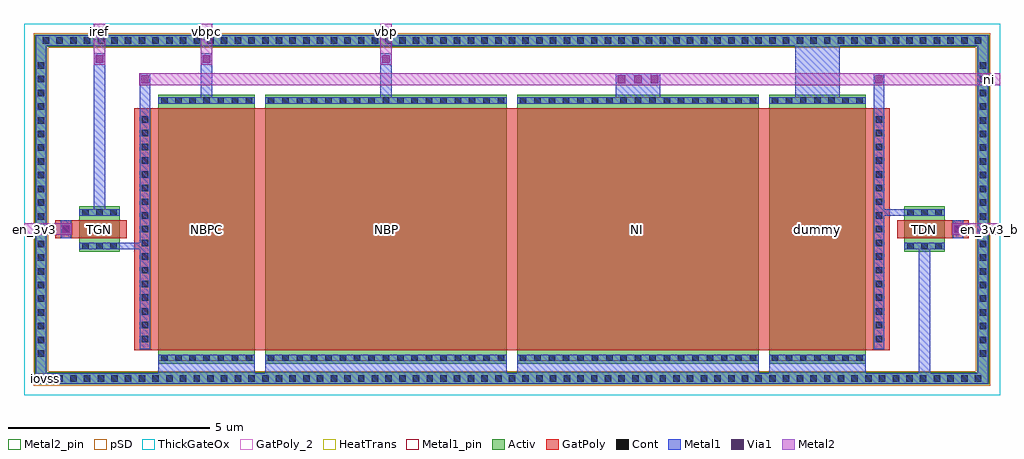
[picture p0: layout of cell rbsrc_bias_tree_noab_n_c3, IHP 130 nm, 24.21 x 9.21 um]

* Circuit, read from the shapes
.subckt rbsrc_bias_tree_noab_n_c3 en_3v3 en_3v3_b iovss iref ni vbp vbpc
XM1 iref en_3v3 ni iovss sg13_hv_nmos w=1u l=0.45u
XM2 vbpc ni iovss iovss sg13_hv_nmos w=2.4u l=6u
XM3 vbp ni iovss iovss sg13_hv_nmos w=6u l=6u
XM4 ni ni iovss iovss sg13_hv_nmos w=6u l=6u
XM5 iovss ni iovss iovss sg13_hv_nmos w=2.4u l=6u
XM6 ni en_3v3_b iovss iovss sg13_hv_nmos w=1u l=0.45u
.ends

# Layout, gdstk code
from math import pi, radians
import gdstk
lib = gdstk.Library(unit=1e-6, precision=1e-09)
def R(c, l, rs):  # rectangles x0, y0, x1, y1
    for r in rs: c.add(gdstk.rectangle(r[:2], r[2:], *l))
def A(c, l, x, y, w, h, nx, ny, dx, dy):  # array of equal rectangles
    R(c, l, [(x+i*dx, y+j*dy, x+i*dx+w, y+j*dy+h) for i in range(nx) for j in range(ny)])
Activ = (1, 0)
GatPoly = (5, 0)
GatPoly_2 = (5, 2)
Cont = (6, 0)
Metal1 = (8, 0)
Metal1_pin = (8, 2)
Metal2 = (10, 0)
Metal2_pin = (10, 2)
pSD = (14, 0)
Via1 = (19, 0)
ThickGateOx = (44, 0)
HeatTrans = (51, 0)

rbsrc_nhv_w6_l6 = lib.new_cell('rbsrc_nhv_w6_l6')
R(rbsrc_nhv_w6_l6, Activ, [(0,0,0.3,0.3), (0,0,6.68,6), (6.38,0,6.68,0.3)])
R(rbsrc_nhv_w6_l6, GatPoly, [(0.34,-0.18,6.34,6.18)])
R(rbsrc_nhv_w6_l6, GatPoly_2, [(0.34,-0.18,6.34,6.18)])
A(rbsrc_nhv_w6_l6, Cont, 0.07, 0.07, 0.16, 0.16, 1, 4, 0, 0.355)
A(rbsrc_nhv_w6_l6, Cont, 6.45, 0.07, 0.16, 0.16, 1, 4, 0, 0.355)
A(rbsrc_nhv_w6_l6, Cont, 0.07, 1.495, 0.16, 0.16, 1, 4, 0, 0.355)
A(rbsrc_nhv_w6_l6, Cont, 6.45, 1.495, 0.16, 0.16, 1, 4, 0, 0.355)
A(rbsrc_nhv_w6_l6, Cont, 0.07, 2.92, 0.16, 0.16, 1, 4, 0, 0.355)
A(rbsrc_nhv_w6_l6, Cont, 6.45, 2.92, 0.16, 0.16, 1, 4, 0, 0.355)
A(rbsrc_nhv_w6_l6, Cont, 0.07, 4.345, 0.16, 0.16, 1, 4, 0, 0.355)
A(rbsrc_nhv_w6_l6, Cont, 6.45, 4.345, 0.16, 0.16, 1, 4, 0, 0.355)
R(rbsrc_nhv_w6_l6, Cont, [(0.07,5.77,0.23,5.93), (6.45,5.77,6.61,5.93)])
R(rbsrc_nhv_w6_l6, Metal1, [(0.07,0,0.23,6), (6.45,0,6.61,6)])
R(rbsrc_nhv_w6_l6, Metal1_pin, [(0.07,0,0.23,6), (6.45,0,6.61,6)])
R(rbsrc_nhv_w6_l6, ThickGateOx, [(-0.27,-0.52,6.95,6.52)])
R(rbsrc_nhv_w6_l6, HeatTrans, [(0.34,-0.18,6.34,6.18)])
rbsrc_nhv_w6_l6.add(gdstk.Label('nmosHV', (3.34,3), layer=63, texttype=0))
rbsrc_nhv_w6_l6.add(gdstk.Label('nmosHV', (3.34,3), layer=51, texttype=0))

rbsrc_nhv_w2p4_l6 = lib.new_cell('rbsrc_nhv_w2p4_l6')
R(rbsrc_nhv_w2p4_l6, Activ, [(0,0,0.3,0.3), (0,0,6.68,2.4), (6.38,0,6.68,0.3)])
R(rbsrc_nhv_w2p4_l6, GatPoly, [(0.34,-0.18,6.34,2.58)])
R(rbsrc_nhv_w2p4_l6, GatPoly_2, [(0.34,-0.18,6.34,2.58)])
A(rbsrc_nhv_w2p4_l6, Cont, 0.07, 0.07, 0.16, 0.16, 1, 7, 0, 0.35)
A(rbsrc_nhv_w2p4_l6, Cont, 6.45, 0.07, 0.16, 0.16, 1, 7, 0, 0.35)
R(rbsrc_nhv_w2p4_l6, Metal1, [(0.07,0,0.23,2.4), (6.45,0,6.61,2.4)])
R(rbsrc_nhv_w2p4_l6, Metal1_pin, [(0.07,0,0.23,2.4), (6.45,0,6.61,2.4)])
R(rbsrc_nhv_w2p4_l6, ThickGateOx, [(-0.27,-0.52,6.95,2.92)])
R(rbsrc_nhv_w2p4_l6, HeatTrans, [(0.34,-0.18,6.34,2.58)])
rbsrc_nhv_w2p4_l6.add(gdstk.Label('nmosHV', (3.34,1.2), layer=63, texttype=0))
rbsrc_nhv_w2p4_l6.add(gdstk.Label('nmosHV', (3.34,1.2), layer=51, texttype=0))

rbsrc_nhv_w1_l0p45 = lib.new_cell('rbsrc_nhv_w1_l0p45')
R(rbsrc_nhv_w1_l0p45, Activ, [(0,0,0.3,0.3), (0,0,1.13,1), (0.83,0,1.13,0.3)])
R(rbsrc_nhv_w1_l0p45, GatPoly, [(0.34,-0.18,0.79,1.18)])
R(rbsrc_nhv_w1_l0p45, GatPoly_2, [(0.34,-0.18,0.79,1.18)])
A(rbsrc_nhv_w1_l0p45, Cont, 0.07, 0.07, 0.16, 0.16, 1, 3, 0, 0.35)
A(rbsrc_nhv_w1_l0p45, Cont, 0.9, 0.07, 0.16, 0.16, 1, 3, 0, 0.35)
R(rbsrc_nhv_w1_l0p45, Metal1, [(0.07,0,0.23,1), (0.9,0,1.06,1)])
R(rbsrc_nhv_w1_l0p45, Metal1_pin, [(0.07,0,0.23,1), (0.9,0,1.06,1)])
R(rbsrc_nhv_w1_l0p45, ThickGateOx, [(-0.27,-0.52,1.4,1.52)])
R(rbsrc_nhv_w1_l0p45, HeatTrans, [(0.34,-0.18,0.79,1.18)])
rbsrc_nhv_w1_l0p45.add(gdstk.Label('nmosHV', (0.565,0.5), layer=63, texttype=0))
rbsrc_nhv_w1_l0p45.add(gdstk.Label('nmosHV', (0.565,0.5), layer=51, texttype=0))

rbsrc_bias_tree_noab_n_c = lib.new_cell('rbsrc_bias_tree_noab_n_c3')
R(rbsrc_bias_tree_noab_n_c, Activ, [(-3.06,-0.51,20.61,-0.21), (-3.06,-0.51,-2.76,8.165), (20.31,-0.51,20.61,8.165), (-3.06,7.865,20.61,8.165)])
R(rbsrc_bias_tree_noab_n_c, GatPoly, [(-0.6,0.34,-0.1,6.34), (17.65,0.34,18.15,6.34), (-2.56,3.115,-2.06,3.565), (19.61,3.115,20.11,3.565)])
A(rbsrc_bias_tree_noab_n_c, Cont, -2.865, -0.44, 0.16, 0.16, 69, 2, 0.34, 8.375)
A(rbsrc_bias_tree_noab_n_c, Cont, -2.99, 0.175, 0.16, 0.16, 1, 11, 0, 0.34)
A(rbsrc_bias_tree_noab_n_c, Cont, 20.38, 0.175, 0.16, 0.16, 1, 11, 0, 0.34)
A(rbsrc_bias_tree_noab_n_c, Cont, -0.41, 0.54, 0.16, 0.16, 1, 17, 0, 0.34)
A(rbsrc_bias_tree_noab_n_c, Cont, 17.8, 0.54, 0.16, 0.16, 1, 17, 0, 0.34)
A(rbsrc_bias_tree_noab_n_c, Cont, -2.99, 3.92, 0.16, 0.16, 1, 11, 0, 0.34)
A(rbsrc_bias_tree_noab_n_c, Cont, 20.38, 3.92, 0.16, 0.16, 1, 11, 0, 0.34)
R(rbsrc_bias_tree_noab_n_c, Cont, [(-2.37,3.26,-2.21,3.42), (19.76,3.26,19.92,3.42)])
R(rbsrc_bias_tree_noab_n_c, Metal1, [(-3.04,-0.49,20.59,-0.23), (-3.04,-0.49,-2.78,8.145), (20.33,-0.49,20.59,8.145), (0,-0.23,2.4,0.23), (2.65,-0.23,8.65,0.23), (8.9,-0.23,14.9,0.23), (15.15,-0.23,17.55,0.23), (18.865,-0.23,19.155,3.005), (-0.46,0.36,-0.2,7.205), (17.75,0.36,18.01,7.205), (-1.06,2.845,-0.33,3.005), (-2.42,3.115,-2.16,3.565), (19.71,3.115,19.97,3.565), (-1.605,3.675,-1.315,7.705), (17.88,3.675,18.61,3.835), (1.055,6.45,1.345,7.705), (5.505,6.45,5.795,7.705), (11.345,6.45,12.455,7.205), (15.795,6.45,16.905,7.885), (-3.04,7.885,20.59,8.145)])
R(rbsrc_bias_tree_noab_n_c, Metal1_pin, [(-3.04,-0.49,-2.54,-0.23)])
R(rbsrc_bias_tree_noab_n_c, Metal2, [(-3.33,3.195,-2.145,3.485), (19.695,3.195,20.88,3.485), (-0.475,6.915,20.88,7.205), (-1.605,7.415,-1.315,8.435), (1.055,7.415,1.345,8.435), (5.505,7.415,5.795,8.435)])
R(rbsrc_bias_tree_noab_n_c, Metal2_pin, [(-3.33,3.195,-2.83,3.485), (20.38,3.195,20.88,3.485), (20.38,6.915,20.88,7.205), (-1.605,8.035,-1.315,8.435), (1.055,8.035,1.345,8.435), (5.505,8.035,5.795,8.435)])
R(rbsrc_bias_tree_noab_n_c, pSD, [(-3.09,-0.54,20.64,-0.18), (-3.09,-0.54,-2.73,8.195), (20.28,-0.54,20.64,8.195), (-3.09,7.835,20.64,8.195)])
A(rbsrc_bias_tree_noab_n_c, Via1, 11.395, 6.965, 0.19, 0.19, 3, 1, 0.41, 0)
R(rbsrc_bias_tree_noab_n_c, Via1, [(-2.385,3.245,-2.195,3.435), (19.745,3.245,19.935,3.435), (-0.425,6.965,-0.235,7.155), (17.785,6.965,17.975,7.155), (-1.555,7.465,-1.365,7.655), (1.105,7.465,1.295,7.655), (5.555,7.465,5.745,7.655)])
R(rbsrc_bias_tree_noab_n_c, ThickGateOx, [(-3.33,-0.78,20.88,8.435)])
rbsrc_bias_tree_noab_n_c.add(gdstk.Reference(rbsrc_nhv_w6_l6, (2.65,6.68), rotation=3*pi/2))
rbsrc_bias_tree_noab_n_c.add(gdstk.Reference(rbsrc_nhv_w6_l6, (14.9,6.68), rotation=3*pi/2, x_reflection=True))
rbsrc_bias_tree_noab_n_c.add(gdstk.Reference(rbsrc_nhv_w2p4_l6, (0,6.68), rotation=3*pi/2))
rbsrc_bias_tree_noab_n_c.add(gdstk.Reference(rbsrc_nhv_w2p4_l6, (17.55,6.68), rotation=3*pi/2, x_reflection=True))
rbsrc_bias_tree_noab_n_c.add(gdstk.Reference(rbsrc_nhv_w1_l0p45, (-1.96,3.905), rotation=3*pi/2))
rbsrc_bias_tree_noab_n_c.add(gdstk.Reference(rbsrc_nhv_w1_l0p45, (19.51,3.905), rotation=3*pi/2, x_reflection=True))
rbsrc_bias_tree_noab_n_c.add(gdstk.Label('NBPC', (1.2,3.34), layer=63, texttype=0))
rbsrc_bias_tree_noab_n_c.add(gdstk.Label('NBP', (5.65,3.34), layer=63, texttype=0))
rbsrc_bias_tree_noab_n_c.add(gdstk.Label('NI', (11.9,3.34), layer=63, texttype=0))
rbsrc_bias_tree_noab_n_c.add(gdstk.Label('dummy', (16.35,3.34), layer=63, texttype=0))
rbsrc_bias_tree_noab_n_c.add(gdstk.Label('TGN', (-1.46,3.34), layer=63, texttype=0))
rbsrc_bias_tree_noab_n_c.add(gdstk.Label('TDN', (19.01,3.34), layer=63, texttype=0))
rbsrc_bias_tree_noab_n_c.add(gdstk.Label('iovss', (-2.79,-0.36), layer=8, texttype=25))
rbsrc_bias_tree_noab_n_c.add(gdstk.Label('ni', (20.63,7.06), layer=10, texttype=25))
rbsrc_bias_tree_noab_n_c.add(gdstk.Label('vbpc', (1.2,8.235), layer=10, texttype=25))
rbsrc_bias_tree_noab_n_c.add(gdstk.Label('vbp', (5.65,8.235), layer=10, texttype=25))
rbsrc_bias_tree_noab_n_c.add(gdstk.Label('iref', (-1.46,8.235), layer=10, texttype=25))
rbsrc_bias_tree_noab_n_c.add(gdstk.Label('en_3v3', (-3.08,3.34), layer=10, texttype=25))
rbsrc_bias_tree_noab_n_c.add(gdstk.Label('en_3v3_b', (20.63,3.34), layer=10, texttype=25))

lib.write_gds('rbsrc_bias_tree_noab_n_c3.gds')
